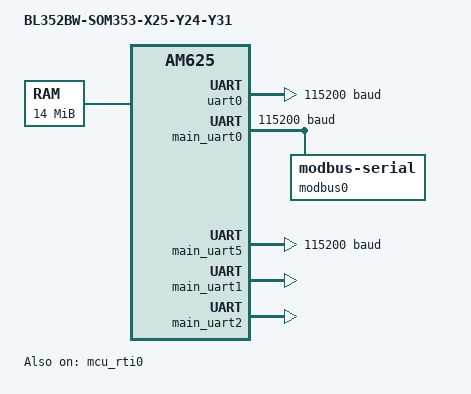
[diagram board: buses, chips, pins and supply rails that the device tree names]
/*
 * Copyright (c) 2026 Chrispine Tinega <dev@chrispinetinega.com>
 *
 * SPDX-License-Identifier: Apache-2.0
 */

/dts-v1/;

#include <ti/am62x_m4.dtsi>
#include "am62x_m4_bl350_am6254_m4-pinctrl.dtsi"
#include <zephyr/dt-bindings/memory-attr/memory-attr-arm.h>

/ {
	model = "BL352BW-SOM353-X25-Y24-Y31";
	compatible = "bliiot,am62x-m4-bl350", "ti,am625";

	aliases {
		uart1 = &main_uart1;
		uart2 = &main_uart2;
		gpio1 = &main_gpio1;
	};

	chosen {
		/*
		 * AM62x M4 runs from the m4f-memory carveout that Linux reserves
		 * at 0x9cc00000. We treat this as unified SRAM for Zephyr, with
		 * XIP disabled so flash and sram share the same region.
		 */
		zephyr,sram       = &m4f_mem;
		zephyr,flash      = &m4f_mem;
		zephyr,console    = &uart0;
		zephyr,shell-uart = &uart0;

		/*
		 * RTOS IPC shared memory is provided by the ipc-memories@9c800000
		 * reserved region that Linux remoteproc and TI IPC stack use.
		 */
		zephyr,ipc_shm    = &ipc_shm;
		zephyr,ipc        = &ipc0;
	};

	/*
	 * M4F program region: matches Linux reserved-memory m4f-memory@9cc00000
	 * (reg = <0x00 0x9cc00000 0x00 0xe00000>). We expose a subset of that
	 * as Zephyr's unified SRAM/flash region. Adjust the size as needed
	 * for your final image layout, but keep it within the 14 MB carveout.
	 */
	m4f_mem: memory@9cc00000 {
		compatible = "mmio-sram";
		reg = <0x9cc00000 0x0e00000>; /* 14 MB: full m4f-memory carveout */
	};

	reserved-memory {
		#address-cells = <1>;
		#size-cells = <1>;
		ranges;

		/*
		 * Resource table lives in the m4f-dma-memory@9cb00000 region
		 * that Linux remoteproc uses for virtio1. Keep it small and
		 * non-cacheable.
		 */
		rsc_table: memory@9cbf0000 {
			compatible = "zephyr,memory-region", "mmio-sram";
			reg = <0x9cbf0000 DT_SIZE_K(4)>;
			zephyr,memory-region = "RSC_TABLE";
			zephyr,memory-attr = <( DT_MEM_ARM(ATTR_MPU_RAM_NOCACHE) )>;
		};

		/*
		 * Zephyr/OpenAMP vrings and SHM buffer region. This must reside
		 * inside the m4f-dma-memory@9cb00000 (reg = <0x00 0x9cb00000 0x00 0x100000>)
		 * reserved by Linux for remoteproc DMA.
		 */
		ipc_shm: ipc@9cb00000 {
			compatible = "shared-dma-pool";
			reg = <0x9cb00000 0x00100000>; /* 1 MB: full m4f-dma-memory */
			no-map;
			zephyr,memory-attr = <( DT_MEM_ARM(ATTR_MPU_RAM_NOCACHE) )>;
		};

		/* Optional trace buffer in the m4f-memory region. */
		m4f-trace@9ce00000 {
			reg = <0x9ce00000 0x00100000>; /* 1 MB */
			no-map;
		};
	};

	/*
	 * IPC transport: match upstream SK-AM62/Verbin M4 boards by using
	 * the Zephyr mailbox IPM driver instead of static-vrings. The FIFO
	 * indices correspond to the mbox-m4-0 endpoint in Linux, which
	 * uses FIFO 0 for the M4 side.
	 */
	ipc0: ipc {
		compatible = "zephyr,ipc-openamp-static-vrings";
		mboxes = <&mbox0 0>, <&mbox0 1>;
		mbox-names = "tx", "rx";
		role = "remote";
		memory-region = <&ipc_shm>;
		status = "okay";
	};

	soc {
		compatible = "simple-bus";
		#address-cells = <1>;
		#size-cells = <1>;
		ranges;
	};
};

&uart0 {
	current-speed = <115200>;
	pinctrl-0 = <&mcu_uart0_rx_default &mcu_uart0_tx_default>;
	pinctrl-names = "default";
	status = "okay";
};

&main_uart0 {
	current-speed = <115200>;
	status = "okay";
	interrupts = <20 0>;
	interrupt-parent = <&nvic>;

	modbus0: modbus0 {
		compatible = "zephyr,modbus-serial";
		status = "okay";
	};
};

&main_uart5 {
	current-speed = <115200>;
	status = "okay";
	interrupts = <21 0>;
	interrupt-parent = <&nvic>;
};

&mbox0 {
	status = "okay";
};

/* Provide standard labels expected by the BL350 board application overlay */

&main_uart1 {
	status = "okay";
	interrupts = <22 0>;
	interrupt-parent = <&nvic>;
};

&main_uart2 {
	status = "okay";
	interrupts = <23 0>;
	interrupt-parent = <&nvic>;
};

&main_gpio1 {
	status = "okay";
	interrupts = <24 0>;
	interrupt-parent = <&nvic>;
};

&mcu_rti0 {
	status = "okay";
};
